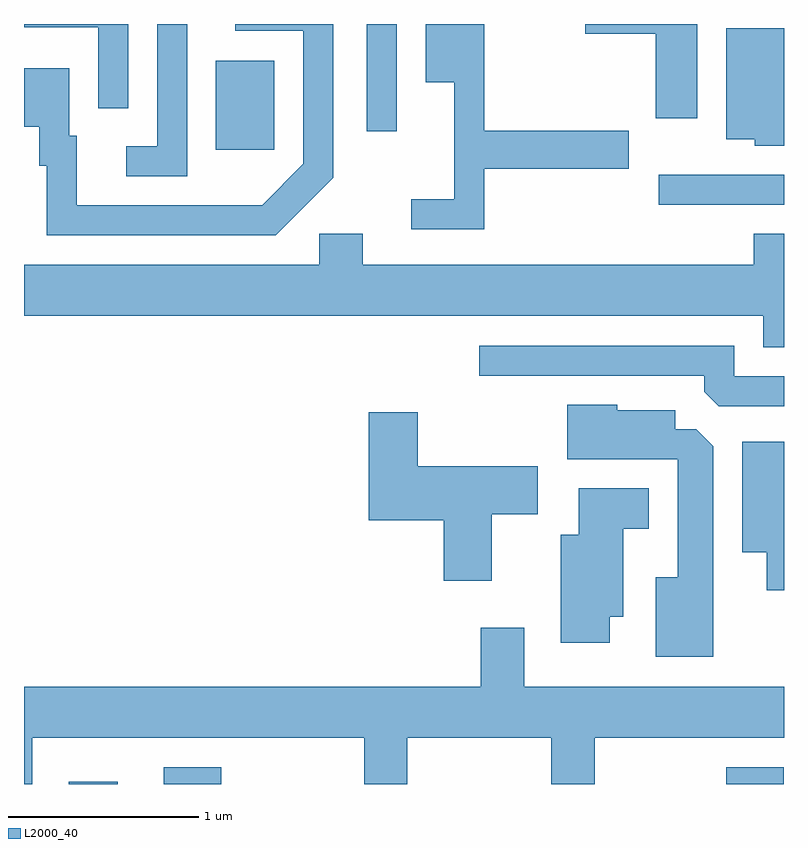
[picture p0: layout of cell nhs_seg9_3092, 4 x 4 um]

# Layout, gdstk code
import gdstk
lib = gdstk.Library(unit=1e-6, precision=1e-09)
def R(c, l, rs):  # rectangles x0, y0, x1, y1
    for r in rs: c.add(gdstk.rectangle(r[:2], r[2:], *l))
def P(c, l, *ps):  # polygons
    for p in ps: c.add(gdstk.Polygon(p, *l))
L2000_40 = (2000, 40)

nhs_seg9_3092 = lib.new_cell('nhs_seg9_3092')
R(nhs_seg9_3092, L2000_40, [(275.846,2020.432,276.104,2020.444), (276.346,2020.432,276.649,2020.519), (279.306,2020.432,279.609,2020.519), (278.953,2023.481,279.611,2023.639), (276.621,2023.771,276.929,2024.239), (277.416,2023.868,277.574,2024.432)])
P(nhs_seg9_3092, L2000_40, [(276.469,2024.432),(276.311,2024.432),(276.311,2023.789),(276.148,2023.789),(276.148,2023.631),(276.469,2023.631)],
  [(277.239,2023.624),(277.239,2024.432),(276.723,2024.432),(276.723,2024.396),(277.081,2024.396),(277.081,2023.697),(276.864,2023.479),(275.889,2023.479),(275.889,2023.844),(275.849,2023.844),(275.849,2024.199),(275.611,2024.199),(275.611,2023.891),(275.691,2023.891),(275.691,2023.686),(275.731,2023.686),(275.731,2023.321),(276.937,2023.321)],
  [(279.154,2024.432),(278.566,2024.432),(278.566,2024.381),(278.936,2024.381),(278.936,2023.936),(279.154,2023.936)],
  [(278.034,2023.671),(278.794,2023.671),(278.794,2023.869),(278.034,2023.869),(278.034,2024.432),(277.726,2024.432),(277.726,2024.126),(277.876,2024.126),(277.876,2023.509),(277.648,2023.509),(277.648,2023.351),(278.034,2023.351)],
  [(276.159,2024.432),(275.611,2024.432),(275.611,2024.416),(276.001,2024.416),(276.001,2023.988),(276.159,2023.988)],
  [(279.611,2024.409),(279.306,2024.409),(279.306,2023.826),(279.456,2023.826),(279.456,2023.791),(279.611,2023.791)],
  [(279.611,2023.329),(279.451,2023.329),(279.451,2023.164),(277.394,2023.164),(277.394,2023.329),(277.166,2023.329),(277.166,2023.164),(275.611,2023.164),(275.611,2022.896),(279.501,2022.896),(279.501,2022.731),(279.611,2022.731)],
  [(279.611,2022.579),(279.349,2022.579),(279.349,2022.739),(278.008,2022.739),(278.008,2022.581),(279.191,2022.581),(279.191,2022.497),(279.267,2022.421),(279.611,2022.421)],
  [(279.239,2022.209),(279.149,2022.299),(279.039,2022.299),(279.039,2022.399),(278.734,2022.399),(278.734,2022.429),(278.471,2022.429),(278.471,2022.141),(279.051,2022.141),(279.051,2021.519),(278.936,2021.519),(278.936,2021.101),(279.239,2021.101)],
  [(278.074,2021.851),(278.314,2021.851),(278.314,2022.104),(277.684,2022.104),(277.684,2022.389),(277.426,2022.389),(277.426,2021.821),(277.821,2021.821),(277.821,2021.501),(278.074,2021.501)],
  [(279.611,2022.234),(279.391,2022.234),(279.391,2021.651),(279.521,2021.651),(279.521,2021.451),(279.611,2021.451)],
  [(278.694,2021.311),(278.764,2021.311),(278.764,2021.776),(278.899,2021.776),(278.899,2021.989),(278.531,2021.989),(278.531,2021.744),(278.436,2021.744),(278.436,2021.176),(278.694,2021.176)],
  [(275.654,2020.676),(277.401,2020.676),(277.401,2020.432),(277.629,2020.432),(277.629,2020.676),(278.386,2020.676),(278.386,2020.432),(278.614,2020.432),(278.614,2020.676),(279.611,2020.676),(279.611,2020.944),(278.244,2020.944),(278.244,2021.254),(278.016,2021.254),(278.016,2020.944),(275.611,2020.944),(275.611,2020.432),(275.654,2020.432)])

lib.write_gds('nhs_seg9_3092.gds')
